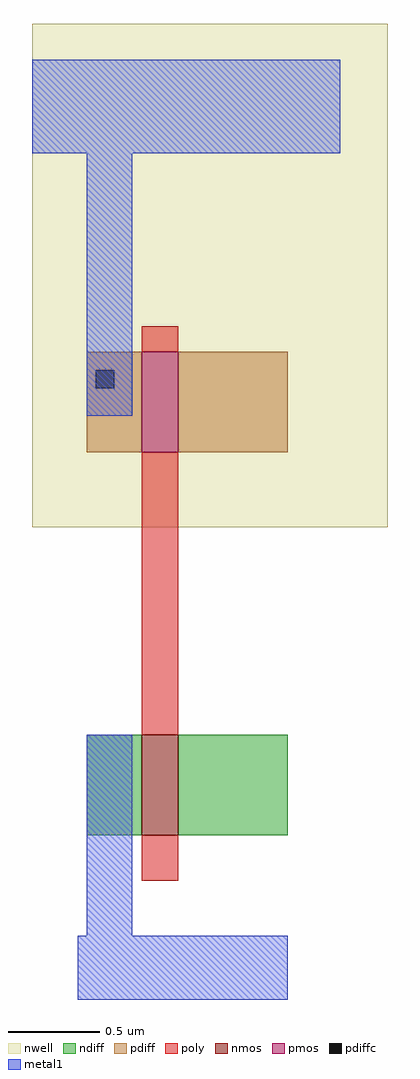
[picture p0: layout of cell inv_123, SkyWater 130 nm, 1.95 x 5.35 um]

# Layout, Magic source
magic
tech sky130A
<< nwell >>
rect -30 -11 165 265
<< nmos >>
rect 30 -180 50 -125
<< pmos >>
rect 30 30 50 85
<< ndiff >>
rect 0 -180 30 -125
rect 50 -180 110 -125
<< pdiff >>
rect 0 75 30 85
rect 0 65 5 75
rect 15 65 30 75
rect 0 30 30 65
rect 50 30 110 85
<< pdiffc >>
rect 5 65 15 75
<< poly >>
rect 30 85 50 99
rect 30 -125 50 30
rect 30 -205 50 -180
<< metal1 >>
rect -30 194 139 245
rect 0 50 25 194
rect 0 -235 25 -125
rect -5 -270 110 -235
<< end >>
